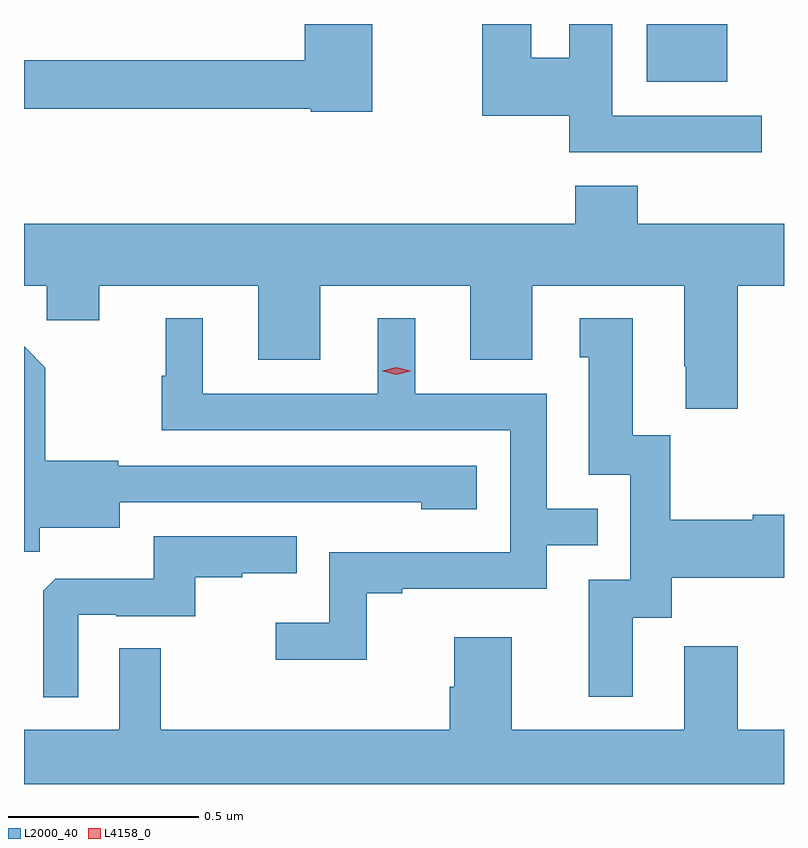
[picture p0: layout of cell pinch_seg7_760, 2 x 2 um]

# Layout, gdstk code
import gdstk
lib = gdstk.Library(unit=1e-6, precision=1e-09)
def R(c, l, rs):  # rectangles x0, y0, x1, y1
    for r in rs: c.add(gdstk.rectangle(r[:2], r[2:], *l))
def P(c, l, *ps):  # polygons
    for p in ps: c.add(gdstk.Polygon(p, *l))
L2000_40 = (2000, 40)
L4158_0 = (4158, 0)

pinch_seg7_760 = lib.new_cell('pinch_seg7_760')
R(pinch_seg7_760, L2000_40, [(350.492,1005.149,350.704,1005.301)])
P(pinch_seg7_760, L2000_40, [(349.77,1005.301),(349.592,1005.301),(349.592,1005.206),(348.853,1005.206),(348.853,1005.078),(349.608,1005.078),(349.608,1005.07),(349.77,1005.07)],
  [(350.794,1005.06),(350.401,1005.06),(350.401,1005.301),(350.288,1005.301),(350.288,1005.212),(350.188,1005.212),(350.188,1005.301),(350.059,1005.301),(350.059,1005.059),(350.288,1005.059),(350.288,1004.963),(350.794,1004.963)],
  [(350.468,1004.875),(350.303,1004.875),(350.303,1004.776),(348.853,1004.776),(348.853,1004.612),(348.913,1004.612),(348.913,1004.522),(349.051,1004.522),(349.051,1004.612),(349.469,1004.612),(349.469,1004.418),(349.633,1004.418),(349.633,1004.612),(350.027,1004.612),(350.027,1004.418),(350.191,1004.418),(350.191,1004.612),(350.591,1004.612),(350.591,1004.401),(350.594,1004.401),(350.594,1004.289),(350.731,1004.289),(350.731,1004.612),(350.853,1004.612),(350.853,1004.776),(350.468,1004.776)],
  [(350.455,1003.738),(350.557,1003.738),(350.557,1003.844),(350.853,1003.844),(350.853,1004.009),(350.771,1004.009),(350.771,1003.996),(350.553,1003.996),(350.553,1004.219),(350.455,1004.219),(350.455,1004.527),(350.315,1004.527),(350.315,1004.424),(350.339,1004.424),(350.339,1004.115),(350.448,1004.115),(350.448,1003.839),(350.339,1003.839),(350.339,1003.53),(350.455,1003.53)],
  [(349.755,1003.803),(349.849,1003.803),(349.849,1003.815),(350.229,1003.815),(350.229,1003.929),(350.363,1003.929),(350.363,1004.025),(350.229,1004.025),(350.229,1004.328),(349.882,1004.328),(349.882,1004.527),(349.784,1004.527),(349.784,1004.328),(349.324,1004.328),(349.324,1004.527),(349.226,1004.527),(349.226,1004.376),(349.215,1004.376),(349.215,1004.232),(350.133,1004.232),(350.133,1003.911),(349.656,1003.911),(349.656,1003.726),(349.515,1003.726),(349.515,1003.628),(349.755,1003.628)],
  [(348.894,1003.976),(349.105,1003.976),(349.105,1004.043),(349.663,1004.043),(349.663,1004.042),(349.899,1004.042),(349.899,1004.024),(350.044,1004.024),(350.044,1004.139),(349.101,1004.139),(349.101,1004.152),(348.909,1004.152),(348.909,1004.397),(348.853,1004.453),(348.853,1003.912),(348.894,1003.912)],
  [(348.996,1003.746),(349.096,1003.746),(349.096,1003.743),(349.304,1003.743),(349.304,1003.845),(349.427,1003.845),(349.427,1003.856),(349.571,1003.856),(349.571,1003.953),(349.194,1003.953),(349.194,1003.841),(348.935,1003.841),(348.903,1003.809),(348.903,1003.529),(348.996,1003.529)],
  [(350.853,1003.444),(350.731,1003.444),(350.731,1003.663),(350.591,1003.663),(350.591,1003.444),(350.137,1003.444),(350.137,1003.687),(349.985,1003.687),(349.985,1003.557),(349.973,1003.557),(349.973,1003.444),(349.213,1003.444),(349.213,1003.658),(349.104,1003.658),(349.104,1003.444),(348.853,1003.444),(348.853,1003.301),(350.853,1003.301)])
P(pinch_seg7_760, L4158_0, [(349.833,1004.378),(349.797,1004.387),(349.797,1004.388),(349.797,1004.388),(349.833,1004.398),(349.869,1004.388),(349.869,1004.388),(349.869,1004.387)])

lib.write_gds('pinch_seg7_760.gds')
